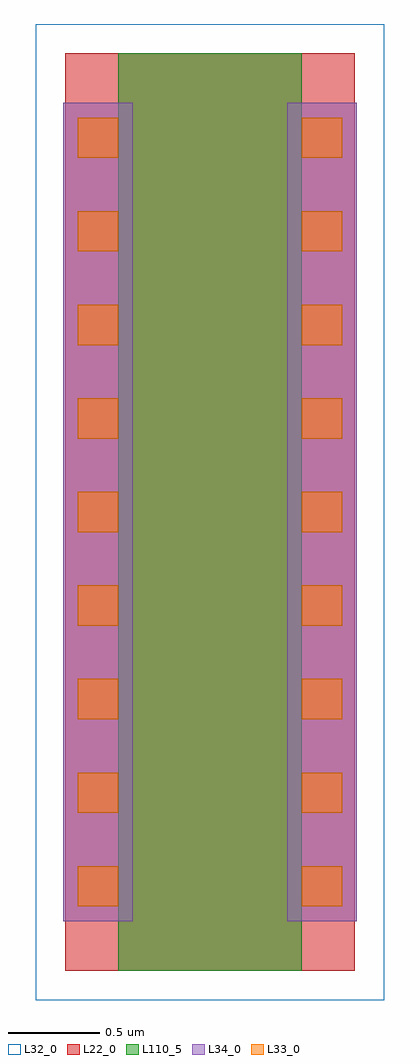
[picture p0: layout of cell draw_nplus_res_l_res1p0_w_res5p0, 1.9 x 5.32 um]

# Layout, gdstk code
import gdstk
lib = gdstk.Library(unit=1e-6, precision=1e-09)
def R(c, l, rs):  # rectangles x0, y0, x1, y1
    for r in rs: c.add(gdstk.rectangle(r[:2], r[2:], *l))
def A(c, l, x, y, w, h, nx, ny, dx, dy):  # array of equal rectangles
    R(c, l, [(x+i*dx, y+j*dy, x+i*dx+w, y+j*dy+h) for i in range(nx) for j in range(ny)])
L22_0 = (22, 0)
L32_0 = (32, 0)
L33_0 = (33, 0)
L34_0 = (34, 0)
L110_5 = (110, 5)

draw_nplus_res_l_res1p0_ = lib.new_cell('draw_nplus_res_l_res1p0_w_res5p0')
R(draw_nplus_res_l_res1p0_, L22_0, [(-0.29,0,1.29,5)])
R(draw_nplus_res_l_res1p0_, L32_0, [(-0.45,-0.16,1.45,5.16)])
A(draw_nplus_res_l_res1p0_, L33_0, -0.22, 0.35, 0.22, 0.22, 1, 9, 0, 0.51)
A(draw_nplus_res_l_res1p0_, L33_0, 1, 0.35, 0.22, 0.22, 1, 9, 0, 0.51)
R(draw_nplus_res_l_res1p0_, L34_0, [(-0.3,0.27,0.08,4.73), (0.92,0.27,1.3,4.73)])
R(draw_nplus_res_l_res1p0_, L110_5, [(0,0,1,5)])

lib.write_gds('draw_nplus_res_l_res1p0_w_res5p0.gds')
